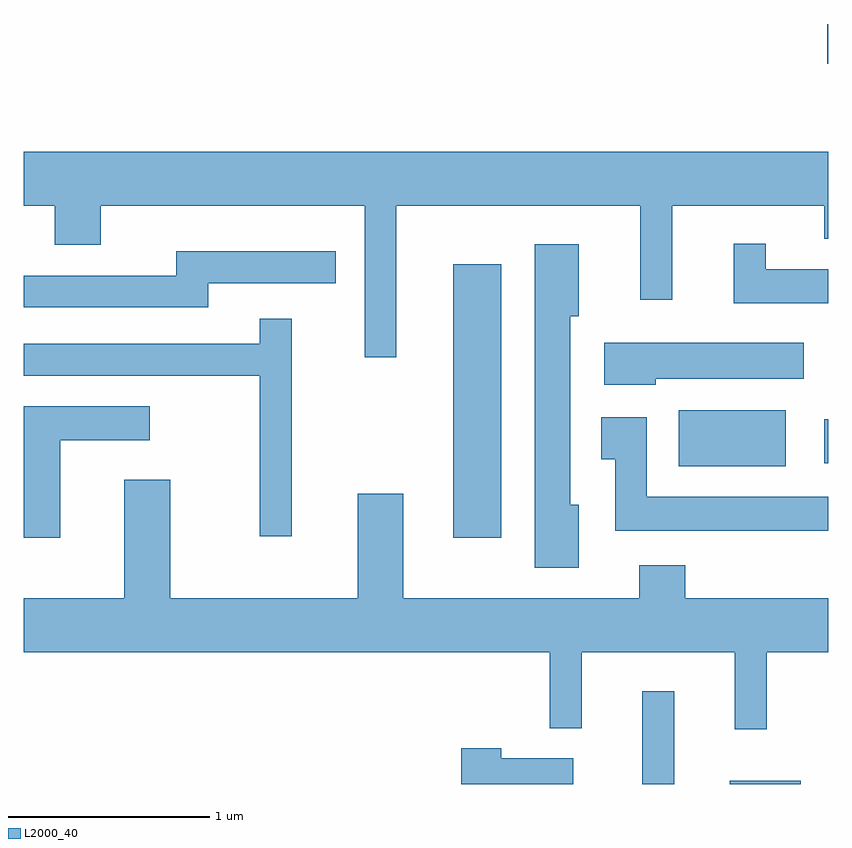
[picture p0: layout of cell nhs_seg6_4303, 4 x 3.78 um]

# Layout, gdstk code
import gdstk
lib = gdstk.Library(unit=1e-6, precision=1e-09)
def R(c, l, rs):  # rectangles x0, y0, x1, y1
    for r in rs: c.add(gdstk.rectangle(r[:2], r[2:], *l))
def P(c, l, *ps):  # polygons
    for p in ps: c.add(gdstk.Polygon(p, *l))
L2000_40 = (2000, 40)

nhs_seg6_4303 = lib.new_cell('nhs_seg6_4303')
R(nhs_seg6_4303, L2000_40, [(318.686,1658.162,318.844,1658.623), (319.121,1658.162,319.474,1658.179), (317.746,1659.386,317.984,1660.744), (318.866,1659.741,319.399,1660.019), (319.591,1659.756,319.611,1659.974), (319.606,1661.741,319.611,1661.939)])
P(nhs_seg6_4303, L2000_40, [(317.464,1661.036),(318.676,1661.036),(318.676,1660.568),(318.834,1660.568),(318.834,1661.036),(319.591,1661.036),(319.591,1660.871),(319.611,1660.871),(319.611,1661.304),(315.611,1661.304),(315.611,1661.036),(315.766,1661.036),(315.766,1660.841),(315.994,1660.841),(315.994,1661.036),(317.306,1661.036),(317.306,1660.283),(317.464,1660.283)],
  [(319.611,1660.719),(319.299,1660.719),(319.299,1660.848),(319.141,1660.848),(319.141,1660.551),(319.611,1660.551)],
  [(318.369,1659.549),(318.329,1659.549),(318.329,1660.486),(318.369,1660.486),(318.369,1660.844),(318.151,1660.844),(318.151,1659.236),(318.369,1659.236)],
  [(316.529,1660.651),(317.163,1660.651),(317.163,1660.809),(316.371,1660.809),(316.371,1660.689),(315.611,1660.689),(315.611,1660.531),(316.529,1660.531)],
  [(316.944,1660.473),(316.786,1660.473),(316.786,1660.349),(315.611,1660.349),(315.611,1660.191),(316.786,1660.191),(316.786,1659.393),(316.944,1659.393)],
  [(318.754,1660.176),(319.489,1660.176),(319.489,1660.354),(318.496,1660.354),(318.496,1660.146),(318.754,1660.146)],
  [(315.794,1659.871),(316.238,1659.871),(316.238,1660.039),(315.611,1660.039),(315.611,1659.386),(315.794,1659.386)],
  [(319.611,1659.589),(318.709,1659.589),(318.709,1659.984),(318.481,1659.984),(318.481,1659.776),(318.551,1659.776),(318.551,1659.421),(319.611,1659.421)],
  [(319.304,1658.816),(319.611,1658.816),(319.611,1659.084),(318.899,1659.084),(318.899,1659.249),(318.671,1659.249),(318.671,1659.084),(317.499,1659.084),(317.499,1659.604),(317.271,1659.604),(317.271,1659.084),(316.339,1659.084),(316.339,1659.674),(316.111,1659.674),(316.111,1659.084),(315.611,1659.084),(315.611,1658.816),(318.226,1658.816),(318.226,1658.438),(318.384,1658.438),(318.384,1658.816),(319.146,1658.816),(319.146,1658.433),(319.304,1658.433)],
  [(318.344,1658.289),(317.984,1658.289),(317.984,1658.339),(317.786,1658.339),(317.786,1658.162),(318.344,1658.162)])

lib.write_gds('nhs_seg6_4303.gds')
